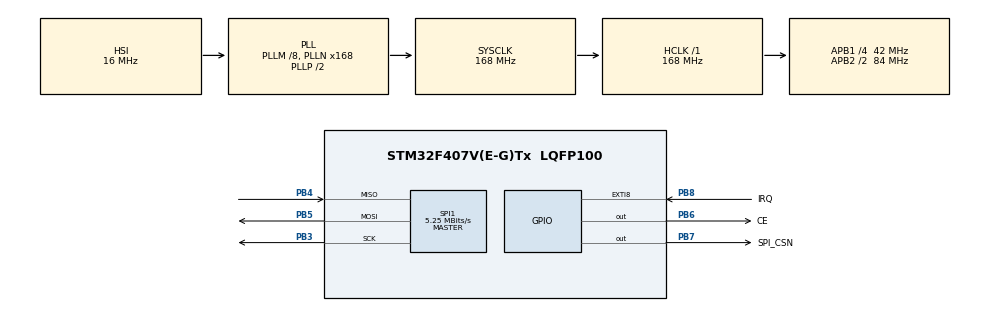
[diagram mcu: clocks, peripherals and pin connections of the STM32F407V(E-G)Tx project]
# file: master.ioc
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Mcu.Family=STM32F4
Mcu.Name=STM32F407V(E-G)Tx
Mcu.Package=LQFP100
NVIC.EXTI9_5_IRQn=true\:0\:0\:false\:false\:true\:true\:true\:true
NVIC.PriorityGroup=NVIC_PRIORITYGROUP_4
PA13.Mode=Serial_Wire
PA13.Signal=SYS_JTMS-SWDIO
PA14.Mode=Serial_Wire
PA14.Signal=SYS_JTCK-SWCLK
PB3.Mode=Full_Duplex_Master
PB3.Signal=SPI1_SCK
PB4.Mode=Full_Duplex_Master
PB4.Signal=SPI1_MISO
PB5.Mode=Full_Duplex_Master
PB5.Signal=SPI1_MOSI
PB6.GPIO_Label=CE
PB6.GPIO_Speed=GPIO_SPEED_FREQ_VERY_HIGH
PB6.Signal=GPIO_Output
PB7.GPIO_Label=SPI_CSN
PB7.GPIO_Speed=GPIO_SPEED_FREQ_VERY_HIGH
PB7.PinState=GPIO_PIN_SET
PB7.Signal=GPIO_Output
PB8.GPIO_Label=IRQ
PB8.GPIO_ModeDefaultEXTI=GPIO_MODE_IT_FALLING
PB8.GPIO_PuPd=GPIO_PULLUP
PB8.Signal=GPXTI8
ProjectManager.HeapSize=0x200
ProjectManager.StackSize=0x400
ProjectManager.TargetToolchain=STM32CubeIDE
RCC.48MHZClocksFreq_Value=84000000
RCC.AHBFreq_Value=168000000
RCC.APB1CLKDivider=RCC_HCLK_DIV4
RCC.APB1Freq_Value=42000000
RCC.APB1TimFreq_Value=84000000
RCC.APB2CLKDivider=RCC_HCLK_DIV2
RCC.APB2Freq_Value=84000000
RCC.APB2TimFreq_Value=168000000
RCC.CortexFreq_Value=168000000
RCC.HCLKFreq_Value=168000000
RCC.HSE_VALUE=25000000
RCC.HSI_VALUE=16000000
RCC.LSE_VALUE=32768
RCC.PLLM=8
RCC.PLLN=168
RCC.SYSCLKFreq_VALUE=168000000
RCC.SYSCLKSource=RCC_SYSCLKSOURCE_PLLCLK
RCC.VCOOutputFreq_Value=336000000
SPI1.BaudRatePrescaler=SPI_BAUDRATEPRESCALER_16
SPI1.CalculateBaudRate=5.25 MBits/s
SPI1.Direction=SPI_DIRECTION_2LINES
SPI1.Mode=SPI_MODE_MASTER
SPI1.VirtualType=VM_MASTER
TIM6.AutoReloadPreload=TIM_AUTORELOAD_PRELOAD_ENABLE
TIM6.Prescaler=83
VP_TIM6_VS_ClockSourceINT.Mode=Enable_Timer
board=custom

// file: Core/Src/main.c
/* USER CODE BEGIN Header */
/**
  ******************************************************************************
  * @file           : main.c
  * @brief          : Main program body
  ******************************************************************************
  * @attention
  *
  * Copyright (c) 2024 STMicroelectronics.
  * All rights reserved.
  *
  * This software is licensed under terms that can be found in the LICENSE file
  * in the root directory of this software component.
  * If no LICENSE file comes with this software, it is provided AS-IS.
  *
  ******************************************************************************
  */
/* USER CODE END Header */
#include "main.h"

/* USER CODE BEGIN Includes */
#include "NRF_App.h"
#include <string.h>
/* USER CODE END Includes */

/* USER CODE BEGIN PTD */
#define NRF_ROLE_TRANSMITTER   0
#define NRF_ROLE_RECEIVER      1

#define NRF_DEVICE_ROLE        NRF_ROLE_RECEIVER

#define NRF_MODE_POLLING       0
#define NRF_MODE_INTERRUPT     1

#define NRF_OPERATION_MODE     NRF_MODE_POLLING

/* Private variables ---------------------------------------------------------*/
SPI_HandleTypeDef hspi1;
TIM_HandleTypeDef htim6;
NRF_App_t nrf_app;

volatile struct {
    uint32_t success_count;
    uint32_t fail_count;
    uint8_t  last_rx_data[4];
} node_monitor;

uint8_t tx_data[4] = {0xAA, 0x55, 0x01, 0x00};
uint8_t rx_data[4] = {0};

/* USER CODE END PTD */

SPI_HandleTypeDef hspi1;

TIM_HandleTypeDef htim6;

void SystemClock_Config(void);
static void MX_GPIO_Init(void);
static void MX_SPI1_Init(void);
static void MX_TIM6_Init(void);

/* USER CODE BEGIN 0 */

#if (NRF_OPERATION_MODE == NRF_MODE_INTERRUPT)

void STM32_Radio_Callback(NRF_App_t *app, const NRF_App_Event_t *event, void *user_arg)
{
#if (NRF_DEVICE_ROLE == NRF_ROLE_TRANSMITTER)

    if (event->tx_data_sent)
    {
        node_monitor.success_count++;
        tx_data[3]++;
    }
    if (event->tx_max_retry)
    {
        node_monitor.fail_count++;
        NRF_App_FlushTx(app);
    }
#else
    if (event->rx_data_ready)
    {
        if (NRF_App_Receive(app, rx_data, 4) == NRF_OK)
        {
            node_monitor.success_count++;
            memcpy((void *)node_monitor.last_rx_data, rx_data, 4);
        }
    }
#endif
}
#endif

/* USER CODE END 0 */

int main(void)
{

  /* MCU Configuration--------------------------------------------------------*/

  /* Reset of all peripherals, Initializes the Flash interface and the Systick. */
  HAL_Init();

  /* Configure the system clock */
  SystemClock_Config();

  /* Initialize all configured peripherals */
  MX_GPIO_Init();
  MX_SPI1_Init();
  MX_TIM6_Init();
  /* USER CODE BEGIN 2 */

  /* ---------- Hardware mapping ---------- */
  nrf_app.dev.hw.bus_dev.hspi = &hspi1;
  nrf_app.dev.hw.bus_dev.htim = &htim6;

  nrf_app.dev.hw.ce_pin.port  = CE_GPIO_Port;
  nrf_app.dev.hw.ce_pin.pin   = CE_Pin;

  nrf_app.dev.hw.csn_pin.port = SPI_CSN_GPIO_Port;
  nrf_app.dev.hw.csn_pin.pin  = SPI_CSN_Pin;

#if (NRF_OPERATION_MODE == NRF_MODE_INTERRUPT)
    nrf_app.dev.hw.irq_pin.port = IRQ_GPIO_Port;
    nrf_app.dev.hw.irq_pin.pin  = IRQ_Pin;
#else
    nrf_app.dev.hw.irq_pin.port = NULL;
    nrf_app.dev.hw.irq_pin.pin  = 0;
#endif

    memset((void *)&node_monitor, 0, sizeof(node_monitor));

    NRF_App_Config_t config = {
#if (NRF_DEVICE_ROLE == NRF_ROLE_TRANSMITTER)
        .role          = NRF_ROLE_PTX,
#else
        .role          = NRF_ROLE_PRX,
#endif
        .crc_state     = NRF_CRC_ENABLED,
        .crc_length    = NRF_CRC_LEN_2_BYTES,
        .auto_ack_mask = NRF_PIPE_ALL,
        .rx_addr_mask  = NRF_PIPE_ALL,
        .addr_width    = NRF_AW_5BYTES,
        .retr_delay    = NRF_ARD_2000US,
        .retr_count    = 15,
        .rf_channel    = 90,
        .data_rate     = NRF_BR_1MBPS,
        .rf_pwr        = NRF_PWR_0DBM,
        .dynpd_mask    = NRF_PIPE_NONE,
        .feature_mask  = NRF_FEATURE_NONE
    };

    if (NRF_App_Init(&nrf_app, &config) == NRF_OK)
    {
        uint8_t common_addr[5] = {0x78, 0x78, 0x78, 0x78, 0x78};

#if (NRF_DEVICE_ROLE == NRF_ROLE_TRANSMITTER)

        NRF_App_SetTxAddress(&nrf_app, common_addr, 5);
        NRF_App_EnablePipe(&nrf_app, 0);
        NRF_App_EnableAutoAck(&nrf_app, 0);
        NRF_App_SetPipePayloadSize(&nrf_app, 0, 4);
#else

        NRF_App_SetRxAddress(&nrf_app, 0, common_addr, 5);
        NRF_App_EnablePipe(&nrf_app, 0);
        NRF_App_EnableAutoAck(&nrf_app, 0);
        NRF_App_SetPipePayloadSize(&nrf_app, 0, 4);
        NRF_App_FlushTx(&nrf_app);

#endif

#if (NRF_OPERATION_MODE == NRF_MODE_INTERRUPT)

        NRF_App_SetEventCallback(&nrf_app, STM32_Radio_Callback, NULL);
#endif

        NRF_App_Start(&nrf_app);
    }

    HAL_Delay(1000);

  /* USER CODE END 2 */

  /* Infinite loop */
  /* USER CODE BEGIN WHILE */
  while (1)
  {
#if (NRF_DEVICE_ROLE == NRF_ROLE_TRANSMITTER)

    #if (NRF_OPERATION_MODE == NRF_MODE_INTERRUPT)

        NRF_App_Transmit(&nrf_app, tx_data, 4);
    #else

        NRF_TxResult_t result;
        NRF_App_TransmitWait(&nrf_app, tx_data, 4, 100, &result);
        if (result == NRF_TX_SUCCESS)
        {
            node_monitor.success_count++;
            tx_data[3]++;
        }
        else {
            node_monitor.fail_count++;
        }
    #endif
        HAL_Delay(500);

#else

    #if (NRF_OPERATION_MODE == NRF_MODE_INTERRUPT)

        HAL_Delay(1000);
    #else
        uint8_t available = 0;
        NRF_App_DataAvailable(&nrf_app, &available);
        if (available) {
            if (NRF_App_Receive(&nrf_app, rx_data, 4) == NRF_OK) {
                node_monitor.success_count++;
                memcpy((void *)node_monitor.last_rx_data, rx_data, 4);
            }
        }
        HAL_Delay(10);
    #endif

#endif
    /* USER CODE END WHILE */

  }
}

void SystemClock_Config(void)
{
  RCC_OscInitTypeDef RCC_OscInitStruct = {0};
  RCC_ClkInitTypeDef RCC_ClkInitStruct = {0};

  /** Configure the main internal regulator output voltage
  */
  __HAL_RCC_PWR_CLK_ENABLE();
  __HAL_PWR_VOLTAGESCALING_CONFIG(PWR_REGULATOR_VOLTAGE_SCALE1);

  /** Initializes the RCC Oscillators according to the specified parameters
  * in the RCC_OscInitTypeDef structure.
  */
  RCC_OscInitStruct.OscillatorType = RCC_OSCILLATORTYPE_HSI;
  RCC_OscInitStruct.HSIState = RCC_HSI_ON;
  RCC_OscInitStruct.HSICalibrationValue = RCC_HSICALIBRATION_DEFAULT;
  RCC_OscInitStruct.PLL.PLLState = RCC_PLL_ON;
  RCC_OscInitStruct.PLL.PLLSource = RCC_PLLSOURCE_HSI;
  RCC_OscInitStruct.PLL.PLLM = 8;
  RCC_OscInitStruct.PLL.PLLN = 168;
  RCC_OscInitStruct.PLL.PLLP = RCC_PLLP_DIV2;
  RCC_OscInitStruct.PLL.PLLQ = 4;
  if (HAL_RCC_OscConfig(&RCC_OscInitStruct) != HAL_OK)
  {
    Error_Handler();
  }

  /** Initializes the CPU, AHB and APB buses clocks
  */
  RCC_ClkInitStruct.ClockType = RCC_CLOCKTYPE_HCLK|RCC_CLOCKTYPE_SYSCLK
                              |RCC_CLOCKTYPE_PCLK1|RCC_CLOCKTYPE_PCLK2;
  RCC_ClkInitStruct.SYSCLKSource = RCC_SYSCLKSOURCE_PLLCLK;
  RCC_ClkInitStruct.AHBCLKDivider = RCC_SYSCLK_DIV1;
  RCC_ClkInitStruct.APB1CLKDivider = RCC_HCLK_DIV4;
  RCC_ClkInitStruct.APB2CLKDivider = RCC_HCLK_DIV2;

  if (HAL_RCC_ClockConfig(&RCC_ClkInitStruct, FLASH_LATENCY_5) != HAL_OK)
  {
    Error_Handler();
  }
}

static void MX_SPI1_Init(void)
{

  /* SPI1 parameter configuration*/
  hspi1.Instance = SPI1;
  hspi1.Init.Mode = SPI_MODE_MASTER;
  hspi1.Init.Direction = SPI_DIRECTION_2LINES;
  hspi1.Init.DataSize = SPI_DATASIZE_8BIT;
  hspi1.Init.CLKPolarity = SPI_POLARITY_LOW;
  hspi1.Init.CLKPhase = SPI_PHASE_1EDGE;
  hspi1.Init.NSS = SPI_NSS_SOFT;
  hspi1.Init.BaudRatePrescaler = SPI_BAUDRATEPRESCALER_16;
  hspi1.Init.FirstBit = SPI_FIRSTBIT_MSB;
  hspi1.Init.TIMode = SPI_TIMODE_DISABLE;
  hspi1.Init.CRCCalculation = SPI_CRCCALCULATION_DISABLE;
  hspi1.Init.CRCPolynomial = 10;
  if (HAL_SPI_Init(&hspi1) != HAL_OK)
  {
    Error_Handler();
  }

}

static void MX_TIM6_Init(void)
{

  TIM_MasterConfigTypeDef sMasterConfig = {0};

  htim6.Instance = TIM6;
  htim6.Init.Prescaler = 83;
  htim6.Init.CounterMode = TIM_COUNTERMODE_UP;
  htim6.Init.Period = 65535;
  htim6.Init.AutoReloadPreload = TIM_AUTORELOAD_PRELOAD_ENABLE;
  if (HAL_TIM_Base_Init(&htim6) != HAL_OK)
  {
    Error_Handler();
  }
  sMasterConfig.MasterOutputTrigger = TIM_TRGO_RESET;
  sMasterConfig.MasterSlaveMode = TIM_MASTERSLAVEMODE_DISABLE;
  if (HAL_TIMEx_MasterConfigSynchronization(&htim6, &sMasterConfig) != HAL_OK)
  {
    Error_Handler();
  }

}

static void MX_GPIO_Init(void)
{
  GPIO_InitTypeDef GPIO_InitStruct = {0};

  /* GPIO Ports Clock Enable */
  __HAL_RCC_GPIOA_CLK_ENABLE();
  __HAL_RCC_GPIOB_CLK_ENABLE();

  /*Configure GPIO pin Output Level */
  HAL_GPIO_WritePin(CE_GPIO_Port, CE_Pin, GPIO_PIN_RESET);

  /*Configure GPIO pin Output Level */
  HAL_GPIO_WritePin(SPI_CSN_GPIO_Port, SPI_CSN_Pin, GPIO_PIN_SET);

  /*Configure GPIO pins : CE_Pin SPI_CSN_Pin */
  GPIO_InitStruct.Pin = CE_Pin|SPI_CSN_Pin;
  GPIO_InitStruct.Mode = GPIO_MODE_OUTPUT_PP;
  GPIO_InitStruct.Pull = GPIO_NOPULL;
  GPIO_InitStruct.Speed = GPIO_SPEED_FREQ_VERY_HIGH;
  HAL_GPIO_Init(GPIOB, &GPIO_InitStruct);

  /*Configure GPIO pin : IRQ_Pin */
  GPIO_InitStruct.Pin = IRQ_Pin;
  GPIO_InitStruct.Mode = GPIO_MODE_IT_FALLING;
  GPIO_InitStruct.Pull = GPIO_PULLUP;
  HAL_GPIO_Init(IRQ_GPIO_Port, &GPIO_InitStruct);

  /* EXTI interrupt init*/
  HAL_NVIC_SetPriority(EXTI9_5_IRQn, 0, 0);
  HAL_NVIC_EnableIRQ(EXTI9_5_IRQn);

}

void Error_Handler(void)
{
  __disable_irq();
  while (1)
  {
  }
}
